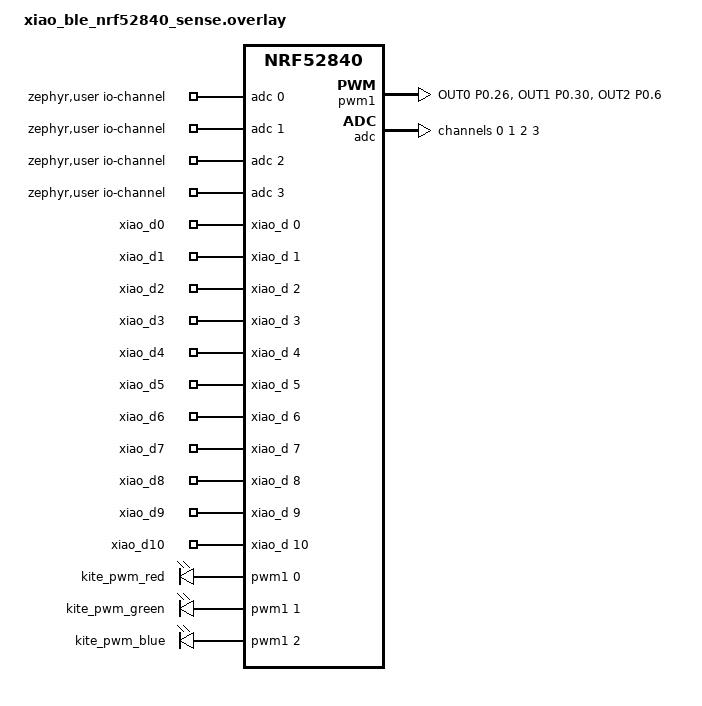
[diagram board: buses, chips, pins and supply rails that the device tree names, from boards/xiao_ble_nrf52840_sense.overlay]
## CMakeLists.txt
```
# SPDX-License-Identifier: Apache-2.0

cmake_minimum_required(VERSION 3.20.0)
find_package(Zephyr REQUIRED HINTS $ENV{ZEPHYR_BASE})
project(kite_shell)

target_sources(app PRIVATE src/main.c)
```

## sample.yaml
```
sample:
  name: Kite Shell
  description: CSSE4011 kite shell commands demo
tests:
  sample.kite_shell:
    platform_allow: xiao_ble/nrf52840/sense
```

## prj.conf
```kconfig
CONFIG_SHELL=y
CONFIG_CSSE4011=y
CONFIG_CSSE4011_SHELL=y
CONFIG_CSSE4011_SHELL_LED=y
CONFIG_CSSE4011_SHELL_GPIO=y
CONFIG_CSSE4011_SHELL_PWM=y
CONFIG_CSSE4011_SHELL_UART=y
CONFIG_CSSE4011_SHELL_I2C=y
CONFIG_CSSE4011_SHELL_ADC=y
CONFIG_CSSE4011_SHELL_IMU=y
CONFIG_BT=y
CONFIG_BT_BROADCASTER=y
CONFIG_CSSE4011_SHELL_BLE=y
CONFIG_LSM6DSL_TRIGGER_NONE=y
CONFIG_LSM6DSL_ACCEL_ODR=4
CONFIG_LSM6DSL_GYRO_ODR=4
```

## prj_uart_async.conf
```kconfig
CONFIG_CSSE4011_SHELL_UART_ASYNC=y
CONFIG_UART_0_INTERRUPT_DRIVEN=n
```

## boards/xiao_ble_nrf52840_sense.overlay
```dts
#include <zephyr/dt-bindings/adc/nrf-saadc.h>
#include <zephyr/dt-bindings/adc/adc.h>

/ {
	aliases {
		xiao-d0 = &xiao_d0;
		xiao-d1 = &xiao_d1;
		xiao-d2 = &xiao_d2;
		xiao-d3 = &xiao_d3;
		xiao-d4 = &xiao_d4;
		xiao-d5 = &xiao_d5;
		xiao-d6 = &xiao_d6;
		xiao-d7 = &xiao_d7;
		xiao-d8 = &xiao_d8;
		xiao-d9 = &xiao_d9;
		xiao-d10 = &xiao_d10;
		kite-pwm = &pwm1;
		kite-uart = &uart0;
		kite-i2c = &xiao_i2c;
	};

	zephyr,user {
		io-channels = <&adc 0>, <&adc 1>, <&adc 2>, <&adc 3>;
	};

	xiao_gpio_pins {
		compatible = "gpio-keys";
		xiao_d0: d0 { gpios = <&xiao_d 0 0>; };
		xiao_d1: d1 { gpios = <&xiao_d 1 0>; };
		xiao_d2: d2 { gpios = <&xiao_d 2 0>; };
		xiao_d3: d3 { gpios = <&xiao_d 3 0>; };
		xiao_d4: d4 { gpios = <&xiao_d 4 0>; };
		xiao_d5: d5 { gpios = <&xiao_d 5 0>; };
		xiao_d6: d6 { gpios = <&xiao_d 6 0>; };
		xiao_d7: d7 { gpios = <&xiao_d 7 0>; };
		xiao_d8: d8 { gpios = <&xiao_d 8 0>; };
		xiao_d9: d9 { gpios = <&xiao_d 9 0>; };
		xiao_d10: d10 { gpios = <&xiao_d 10 0>; };
	};

	kite_pwm_leds {
		compatible = "pwm-leds";
		kite_pwm_red: pwm_red {
			pwms = <&pwm1 0 PWM_MSEC(20) PWM_POLARITY_INVERTED>;
		};
		kite_pwm_green: pwm_green {
			pwms = <&pwm1 1 PWM_MSEC(20) PWM_POLARITY_INVERTED>;
		};
		kite_pwm_blue: pwm_blue {
			pwms = <&pwm1 2 PWM_MSEC(20) PWM_POLARITY_INVERTED>;
		};
	};
};

&pinctrl {
	pwm1_default: pwm1_default {
		group1 {
			psels = <NRF_PSEL(PWM_OUT0, 0, 26)>,  /* Red LED */
				<NRF_PSEL(PWM_OUT1, 0, 30)>,   /* Green LED */
				<NRF_PSEL(PWM_OUT2, 0, 6)>;    /* Blue LED */
			nordic,invert;
		};
	};

	pwm1_sleep: pwm1_sleep {
		group1 {
			psels = <NRF_PSEL(PWM_OUT0, 0, 26)>,
				<NRF_PSEL(PWM_OUT1, 0, 30)>,
				<NRF_PSEL(PWM_OUT2, 0, 6)>;
			low-power-enable;
		};
	};
};

&pwm1 {
	status = "okay";
	pinctrl-0 = <&pwm1_default>;
	pinctrl-1 = <&pwm1_sleep>;
	pinctrl-names = "default", "sleep";
};

&adc {
	#address-cells = <1>;
	#size-cells = <0>;

	channel@0 {
		reg = <0>;
		zephyr,gain = "ADC_GAIN_1_6";
		zephyr,reference = "ADC_REF_INTERNAL";
		zephyr,acquisition-time = <ADC_ACQ_TIME_DEFAULT>;
		zephyr,input-positive = <NRF_SAADC_AIN0>; /* D0 P0.02 */
		zephyr,resolution = <12>;
	};

	channel@1 {
		reg = <1>;
		zephyr,gain = "ADC_GAIN_1_6";
		zephyr,reference = "ADC_REF_INTERNAL";
		zephyr,acquisition-time = <ADC_ACQ_TIME_DEFAULT>;
		zephyr,input-positive = <NRF_SAADC_AIN1>; /* D1 P0.03 */
		zephyr,resolution = <12>;
	};

	channel@2 {
		reg = <2>;
		zephyr,gain = "ADC_GAIN_1_6";
		zephyr,reference = "ADC_REF_INTERNAL";
		zephyr,acquisition-time = <ADC_ACQ_TIME_DEFAULT>;
		zephyr,input-positive = <NRF_SAADC_AIN4>; /* D2 P0.28 */
		zephyr,resolution = <12>;
	};

	channel@3 {
		reg = <3>;
		zephyr,gain = "ADC_GAIN_1_6";
		zephyr,reference = "ADC_REF_INTERNAL";
		zephyr,acquisition-time = <ADC_ACQ_TIME_DEFAULT>;
		zephyr,input-positive = <NRF_SAADC_AIN5>; /* D3 P0.29 */
		zephyr,resolution = <12>;
	};
};
```

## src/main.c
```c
/*
 * Copyright (c) 2026 Sam Kwort
 *
 * SPDX-License-Identifier: Apache-2.0
 */

#include <zephyr/kernel.h>

int main(void)
{
    printk("CSSE4011 Kite Shell\n");
    return 0;
}
```
